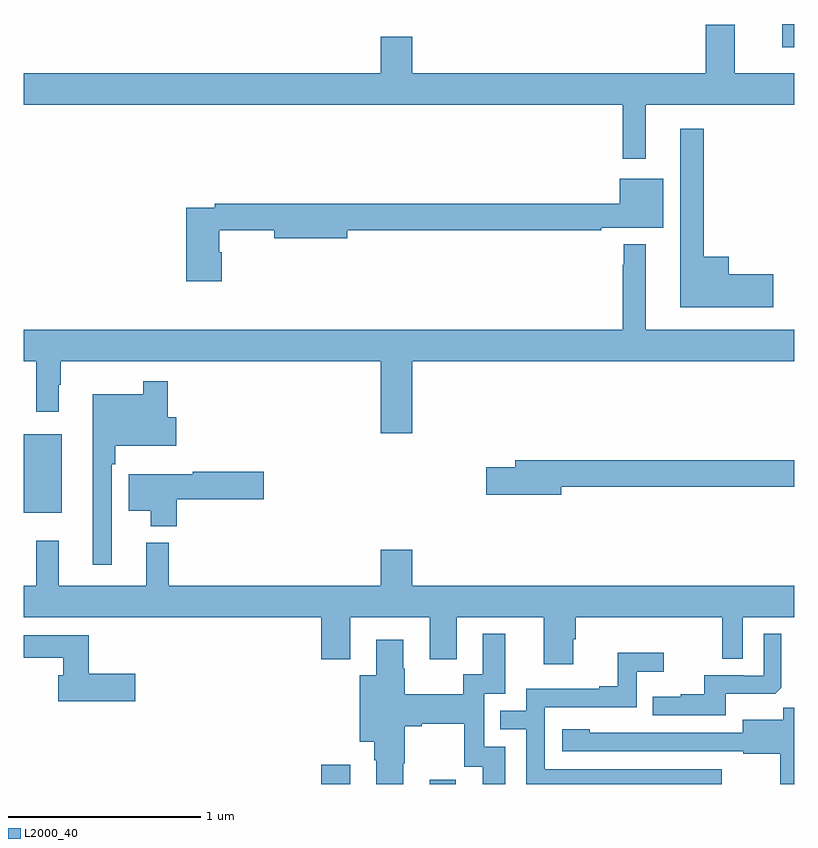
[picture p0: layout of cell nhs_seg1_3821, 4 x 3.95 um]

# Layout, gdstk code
import gdstk
lib = gdstk.Library(unit=1e-6, precision=1e-09)
def R(c, l, rs):  # rectangles x0, y0, x1, y1
    for r in rs: c.add(gdstk.rectangle(r[:2], r[2:], *l))
def P(c, l, *ps):  # polygons
    for p in ps: c.add(gdstk.Polygon(p, *l))
L2000_40 = (2000, 40)

nhs_seg1_3821 = lib.new_cell('nhs_seg1_3821')
R(nhs_seg1_3821, L2000_40, [(320.543,552.199,320.695,552.298), (321.107,552.199,321.244,552.22), (319,553.607,319.195,554.017), (322.938,556.025,323,556.147)])
P(nhs_seg1_3821, L2000_40, [(322.231,555.728),(323,555.728),(323,555.892),(322.693,555.892),(322.693,556.144),(322.541,556.144),(322.541,555.892),(321.016,555.892),(321.016,556.081),(320.852,556.081),(320.852,555.892),(319,555.892),(319,555.728),(322.11,555.728),(322.11,555.447),(322.231,555.447)],
  [(322.891,554.846),(322.66,554.846),(322.66,554.938),(322.531,554.938),(322.531,555.604),(322.409,555.604),(322.409,554.675),(322.891,554.675)],
  [(320.027,554.961),(320.014,554.961),(320.014,555.076),(320.3,555.076),(320.3,555.034),(320.68,555.034),(320.68,555.076),(321.998,555.076),(321.998,555.089),(322.321,555.089),(322.321,555.343),(322.094,555.343),(322.094,555.212),(319.99,555.212),(319.99,555.192),(319.844,555.192),(319.844,554.811),(320.027,554.811)],
  [(319,554.396),(319.063,554.396),(319.063,554.133),(319.18,554.133),(319.18,554.273),(319.192,554.273),(319.192,554.396),(320.852,554.396),(320.852,554.022),(321.016,554.022),(321.016,554.396),(323,554.396),(323,554.56),(322.231,554.56),(322.231,555.004),(322.116,555.004),(322.116,554.897),(322.11,554.897),(322.11,554.56),(319,554.56)],
  [(319.455,553.859),(319.475,553.859),(319.475,553.955),(319.792,553.955),(319.792,554.103),(319.748,554.103),(319.748,554.29),(319.62,554.29),(319.62,554.224),(319.358,554.224),(319.358,553.338),(319.455,553.338)],
  [(321.79,553.744),(323,553.744),(323,553.88),(321.551,553.88),(321.551,553.844),(321.402,553.844),(321.402,553.702),(321.79,553.702)],
  [(319.793,553.678),(320.245,553.678),(320.245,553.82),(319.876,553.82),(319.876,553.807),(319.544,553.807),(319.544,553.619),(319.658,553.619),(319.658,553.538),(319.793,553.538)],
  [(321.853,552.951),(321.866,552.951),(321.866,553.064),(322.626,553.064),(322.626,552.85),(322.734,552.85),(322.734,553.064),(323,553.064),(323,553.228),(321.016,553.228),(321.016,553.417),(320.852,553.417),(320.852,553.228),(319.751,553.228),(319.751,553.453),(319.634,553.453),(319.634,553.228),(319.181,553.228),(319.181,553.462),(319.063,553.462),(319.063,553.228),(319,553.228),(319,553.064),(320.543,553.064),(320.543,552.846),(320.695,552.846),(320.695,553.064),(321.107,553.064),(321.107,552.846),(321.247,552.846),(321.247,553.064),(321.701,553.064),(321.701,552.822),(321.853,552.822)],
  [(320.971,552.307),(320.979,552.307),(320.979,552.5),(321.067,552.5),(321.067,552.512),(321.287,552.512),(321.287,552.288),(321.383,552.288),(321.383,552.199),(321.499,552.199),(321.499,552.393),(321.39,552.393),(321.39,552.669),(321.499,552.669),(321.499,552.979),(321.383,552.979),(321.383,552.77),(321.282,552.77),(321.282,552.664),(320.979,552.664),(320.979,552.798),(320.971,552.798),(320.971,552.949),(320.831,552.949),(320.831,552.763),(320.744,552.763),(320.744,552.419),(320.819,552.419),(320.819,552.323),(320.831,552.323),(320.831,552.199),(320.971,552.199)],
  [(322.645,552.668),(322.903,552.668),(322.935,552.699),(322.935,552.979),(322.842,552.979),(322.842,552.762),(322.742,552.762),(322.742,552.765),(322.535,552.765),(322.535,552.664),(322.411,552.664),(322.411,552.652),(322.267,552.652),(322.267,552.555),(322.645,552.555)],
  [(319.579,552.771),(319.337,552.771),(319.337,552.972),(319,552.972),(319,552.856),(319.205,552.856),(319.205,552.763),(319.178,552.763),(319.178,552.629),(319.579,552.629)],
  [(322.624,552.276),(321.705,552.276),(321.705,552.597),(322.182,552.597),(322.182,552.782),(322.324,552.782),(322.324,552.881),(322.084,552.881),(322.084,552.706),(321.989,552.706),(321.989,552.693),(321.609,552.693),(321.609,552.579),(321.475,552.579),(321.475,552.483),(321.609,552.483),(321.609,552.199),(322.624,552.199)],
  [(323,552.596),(322.944,552.596),(322.944,552.532),(322.733,552.532),(322.733,552.465),(322.175,552.465),(322.175,552.466),(321.939,552.466),(321.939,552.484),(321.795,552.484),(321.795,552.369),(322.737,552.369),(322.737,552.357),(322.929,552.357),(322.929,552.199),(323,552.199)])

lib.write_gds('nhs_seg1_3821.gds')
